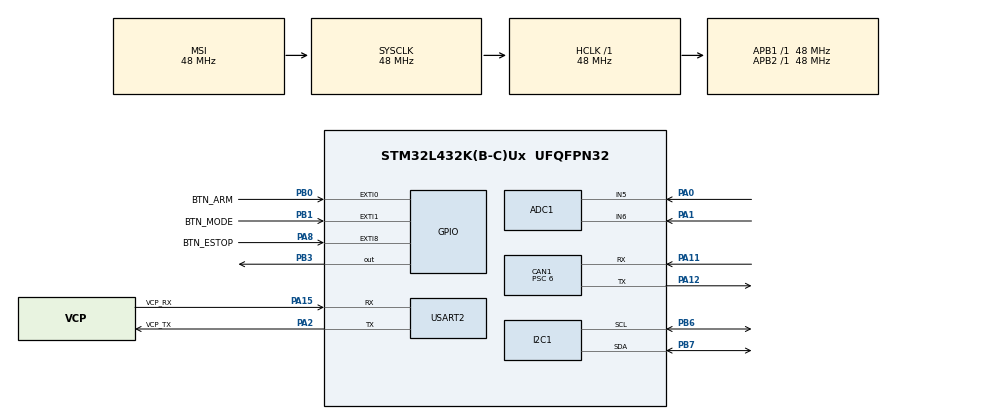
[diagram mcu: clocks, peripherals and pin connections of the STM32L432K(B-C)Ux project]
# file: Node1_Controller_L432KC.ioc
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ADC1.Channel-0\#ChannelRegularConversion=ADC_CHANNEL_5
ADC1.Channel-1\#ChannelRegularConversion=ADC_CHANNEL_6
ADC1.ClockPrescaler=ADC_CLOCK_SYNC_PCLK_DIV4
ADC1.ContinuousConvMode=ENABLE
ADC1.DMAContinuousRequests=ENABLE
ADC1.EOCSelection=ADC_EOC_SEQ_CONV
ADC1.NbrOfConversion=2
ADC1.NbrOfConversionFlag=1
ADC1.OffsetNumber-0\#ChannelRegularConversion=ADC_OFFSET_NONE
ADC1.OffsetNumber-1\#ChannelRegularConversion=ADC_OFFSET_NONE
ADC1.Overrun=ADC_OVR_DATA_OVERWRITTEN
ADC1.Rank-0\#ChannelRegularConversion=1
ADC1.Rank-1\#ChannelRegularConversion=2
ADC1.SamplingTime-0\#ChannelRegularConversion=ADC_SAMPLETIME_247CYCLES_5
ADC1.SamplingTime-1\#ChannelRegularConversion=ADC_SAMPLETIME_247CYCLES_5
ADC1.master=1
CAN1.BS1=CAN_BS1_13TQ
CAN1.BS2=CAN_BS2_2TQ
CAN1.CalculateBaudRate=500000
CAN1.CalculateTimeBit=2000
CAN1.CalculateTimeQuantum=125.0
CAN1.Mode=CAN_MODE_NORMAL
CAN1.NART=ENABLE
CAN1.Prescaler=6
CAN1.SJW=CAN_SJW_2TQ
Dma.ADC1.0.Direction=DMA_PERIPH_TO_MEMORY
Dma.ADC1.0.Instance=DMA1_Channel1
Dma.ADC1.0.MemDataAlignment=DMA_MDATAALIGN_HALFWORD
Dma.ADC1.0.MemInc=DMA_MINC_ENABLE
Dma.ADC1.0.Mode=DMA_CIRCULAR
Dma.ADC1.0.PeriphDataAlignment=DMA_PDATAALIGN_HALFWORD
Dma.ADC1.0.PeriphInc=DMA_PINC_DISABLE
Dma.ADC1.0.Priority=DMA_PRIORITY_LOW
Dma.Request0=ADC1
FREERTOS.Tasks01=ledTask,24,256,StartLedTask,Default,NULL,Dynamic,NULL,NULL;monitorTask,8,512,StartMonitorTask,Default,NULL,Dynamic,NULL,NULL;canTxTask,33,256,StartCanTxTask,Default,NULL,Dynamic,NULL,NULL;canRxTask,32,256,StartCanRxTask,Default,NULL,Dynamic,NULL,NULL
FREERTOS.configCHECK_FOR_STACK_OVERFLOW=2
FREERTOS.configTOTAL_HEAP_SIZE=15360
FREERTOS.configUSE_MALLOC_FAILED_HOOK=1
I2C1.Timing=0x00503D58
Mcu.Family=STM32L4
Mcu.Name=STM32L432K(B-C)Ux
Mcu.Package=UFQFPN32
NUCLEO-L432KC.LD3=true
NVIC.CAN1_RX0_IRQn=true\:5\:0\:false\:false\:true\:true\:true\:true\:true
NVIC.CAN1_SCE_IRQn=true\:5\:0\:false\:false\:true\:true\:true\:true\:true
NVIC.CAN1_TX_IRQn=true\:5\:0\:false\:false\:true\:true\:true\:true\:true
NVIC.DMA1_Channel1_IRQn=true\:5\:0\:false\:false\:true\:false\:true\:true\:true
NVIC.EXTI0_IRQn=true\:5\:0\:true\:false\:true\:true\:true\:true\:true
NVIC.EXTI1_IRQn=true\:5\:0\:true\:false\:true\:true\:true\:true\:true
NVIC.EXTI9_5_IRQn=true\:5\:0\:true\:false\:true\:true\:true\:true\:true
NVIC.PriorityGroup=NVIC_PRIORITYGROUP_4
NVIC.TIM6_DAC_IRQn=true\:15\:0\:false\:false\:true\:false\:true\:true\:false
NVIC.TimeBase=TIM6_DAC_IRQn
NVIC.TimeBaseIP=TIM6
PA0.Signal=ADCx_IN5
PA1.Signal=ADCx_IN6
PA11.GPIO_PuPd=GPIO_PULLUP
PA11.Mode=CAN_Activate
PA11.Signal=CAN1_RX
PA12.Mode=CAN_Activate
PA12.Signal=CAN1_TX
PA13\ (JTMS-SWDIO).GPIO_Label=SWDIO
PA13\ (JTMS-SWDIO).Signal=SYS_JTMS-SWDIO
PA14\ (JTCK-SWCLK).GPIO_Label=SWCLK
PA14\ (JTCK-SWCLK).Signal=SYS_JTCK-SWCLK
PA15\ (JTDI).GPIO_Label=VCP_RX
PA15\ (JTDI).Mode=Asynchronous
PA15\ (JTDI).Signal=USART2_RX
PA2.GPIO_Label=VCP_TX
PA2.Mode=Asynchronous
PA2.Signal=USART2_TX
PA8.GPIO_Label=BTN_ESTOP
PA8.GPIO_ModeDefaultEXTI=GPIO_MODE_IT_FALLING
PA8.GPIO_PuPd=GPIO_PULLUP
PA8.Signal=GPXTI8
PB0.GPIO_Label=BTN_ARM
PB0.GPIO_ModeDefaultEXTI=GPIO_MODE_IT_FALLING
PB0.GPIO_PuPd=GPIO_PULLUP
PB0.Signal=GPXTI0
PB1.GPIO_Label=BTN_MODE
PB1.GPIO_ModeDefaultEXTI=GPIO_MODE_IT_FALLING
PB1.GPIO_PuPd=GPIO_PULLUP
PB1.Signal=GPXTI1
PB3\ (JTDO-TRACESWO).Signal=GPIO_Output
PB6.Mode=I2C
PB6.Signal=I2C1_SCL
PB7.Mode=I2C
PB7.Signal=I2C1_SDA
PC14-OSC32_IN\ (PC14).Signal=RCC_OSC32_IN
PC15-OSC32_OUT\ (PC15).Signal=RCC_OSC32_OUT
ProjectManager.HeapSize=0x200
ProjectManager.StackSize=0x400
ProjectManager.TargetToolchain=STM32CubeIDE
RCC.ADCCLockSelection=RCC_ADCCLKSOURCE_SYSCLK
RCC.ADCFreq_Value=48000000
RCC.AHBFreq_Value=48000000
RCC.APB1Freq_Value=48000000
RCC.APB1TimFreq_Value=48000000
RCC.APB2Freq_Value=48000000
RCC.APB2TimFreq_Value=48000000
RCC.CortexFreq_Value=48000000
RCC.HCLKFreq_Value=48000000
RCC.HSE_VALUE=8000000
RCC.HSI16_VALUE=16000000
RCC.HSI48_VALUE=48000000
RCC.HSI_VALUE=16000000
RCC.I2C1CLockSelection=RCC_I2C1CLKSOURCE_HSI
RCC.LSE_VALUE=32768
RCC.MSIClockRange=RCC_MSIRANGE_11
RCC.MSI_VALUE=48000000
RCC.PLLMUL=RCC_PLLMUL_4
RCC.PLLN=16
RCC.SYSCLKFreq_VALUE=48000000
RCC.USBFreq_Value=192000000
RCC.VCOOutputFreq_Value=768000000
SH.ADCx_IN5.0=ADC1_IN5,IN5-Single-Ended
SH.ADCx_IN6.0=ADC1_IN6,IN6-Single-Ended
USART2.VirtualMode-Asynchronous=VM_ASYNC
VP_FREERTOS_VS_CMSIS_V2.Mode=CMSIS_V2
VP_NUCLEO-L432KC_VS_BSP_COMMON.Mode=COMMON
VP_SYS_VS_tim6.Mode=TIM6
board=NUCLEO-L432KC

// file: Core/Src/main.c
/* USER CODE BEGIN Header */
/**
  ******************************************************************************
  * @file           : main.c
  * @brief          : Main program body
  ******************************************************************************
  * @attention
  *
  * Copyright (c) 2026 STMicroelectronics.
  * All rights reserved.
  *
  * This software is licensed under terms that can be found in the LICENSE file
  * in the root directory of this software component.
  * If no LICENSE file comes with this software, it is provided AS-IS.
  *
  ******************************************************************************
  */
/* USER CODE END Header */
#include "main.h"
#include "cmsis_os.h"

/* USER CODE BEGIN Includes */
#include <stdio.h>
#include "m3_can_test.h"
#include "m3_rtos_test.h"

void M1_LCD_Test_Run(I2C_HandleTypeDef *hi2c, UART_HandleTypeDef *huart);
/* USER CODE END Includes */

/* USER CODE BEGIN PD */
#define M1_TEST_ENABLED 0 /* Archived M1 helpers; not part of M3 CAN test. */
/* USER CODE END PD */

ADC_HandleTypeDef hadc1;
DMA_HandleTypeDef hdma_adc1;

CAN_HandleTypeDef hcan1;

I2C_HandleTypeDef hi2c1;

UART_HandleTypeDef huart2;

/* Definitions for ledTask */
osThreadId_t ledTaskHandle;
const osThreadAttr_t ledTask_attributes = {
  .name = "ledTask",
  .stack_size = 256 * 4,
  .priority = (osPriority_t) osPriorityNormal,
};
/* Definitions for monitorTask */
osThreadId_t monitorTaskHandle;
const osThreadAttr_t monitorTask_attributes = {
  .name = "monitorTask",
  .stack_size = 512 * 4,
  .priority = (osPriority_t) osPriorityLow,
};
/* Definitions for canTxTask */
osThreadId_t canTxTaskHandle;
const osThreadAttr_t canTxTask_attributes = {
  .name = "canTxTask",
  .stack_size = 256 * 4,
  .priority = (osPriority_t) osPriorityAboveNormal1,
};
/* Definitions for canRxTask */
osThreadId_t canRxTaskHandle;
const osThreadAttr_t canRxTask_attributes = {
  .name = "canRxTask",
  .stack_size = 256 * 4,
  .priority = (osPriority_t) osPriorityAboveNormal,
};
/* USER CODE BEGIN PV */
#if M1_TEST_ENABLED
#define ADC_CH_CNT   2
#define MA_LEN       8
#define BTN_DEBOUNCE_MS 25u

typedef enum { BTN_ARM = 0, BTN_MODE, BTN_ESTOP, BTN_COUNT } btn_id_t;

static volatile uint32_t s_btn_last[BTN_COUNT] = {0};
static volatile uint8_t s_btn_event[BTN_COUNT] = {0};
static volatile uint32_t s_irq_raw[BTN_COUNT] = {0}; /* For check: ISR entry count */
static volatile uint8_t s_btn_down[BTN_COUNT] = {0};

static const uint16_t BTN_PIN[BTN_COUNT] = {
		BTN_ARM_Pin, BTN_MODE_Pin, BTN_ESTOP_Pin
};
static GPIO_TypeDef * const BTN_PORT[BTN_COUNT] = {
		BTN_ARM_GPIO_Port, BTN_MODE_GPIO_Port, BTN_ESTOP_GPIO_Port
};

static volatile uint16_t g_adc_raw[ADC_CH_CNT];
#endif
/* USER CODE END PV */

void SystemClock_Config(void);
static void MX_GPIO_Init(void);
static void MX_DMA_Init(void);
static void MX_ADC1_Init(void);
static void MX_USART2_UART_Init(void);
static void MX_I2C1_Init(void);
static void MX_CAN1_Init(void);
void StartLedTask(void *argument);
void StartMonitorTask(void *argument);
void StartCanTxTask(void *argument);
void StartCanRxTask(void *argument);

/* USER CODE BEGIN PFP */
#if M1_TEST_ENABLED
static uint8_t btn_take(btn_id_t id);
static void btn_release_scan(void);
#endif
/* USER CODE END PFP */

int main(void)
{

  /* MCU Configuration--------------------------------------------------------*/

  /* Reset of all peripherals, Initializes the Flash interface and the Systick. */
  HAL_Init();

  /* Configure the system clock */
  SystemClock_Config();

  /* USER CODE BEGIN SysInit */
  if (M3_CAN_Test_PrepareClock() != HAL_OK) {
    M3_RtosFatal(M3_FAULT_HAL);
  }
  /* USER CODE END SysInit */

  /* Initialize all configured peripherals */
  MX_GPIO_Init();
  MX_DMA_Init();
  MX_ADC1_Init();
  MX_USART2_UART_Init();
  MX_I2C1_Init();
  MX_CAN1_Init();
  /* USER CODE BEGIN 2 */
  /* CAN starts in canTxTask after the scheduler is running. */
  /* USER CODE END 2 */

  /* Init scheduler */
  osKernelInitialize();

  /* USER CODE BEGIN RTOS_QUEUES */
  M3_CAN_Test_Init(&hcan1);
  /* USER CODE END RTOS_QUEUES */

  /* Create the thread(s) */
  /* creation of ledTask */
  ledTaskHandle = osThreadNew(StartLedTask, NULL, &ledTask_attributes);

  /* creation of monitorTask */
  monitorTaskHandle = osThreadNew(StartMonitorTask, NULL, &monitorTask_attributes);

  /* creation of canTxTask */
  canTxTaskHandle = osThreadNew(StartCanTxTask, NULL, &canTxTask_attributes);

  /* creation of canRxTask */
  canRxTaskHandle = osThreadNew(StartCanRxTask, NULL, &canRxTask_attributes);

  /* USER CODE BEGIN RTOS_THREADS */
  if ((ledTaskHandle == NULL) || (monitorTaskHandle == NULL) ||
      (canTxTaskHandle == NULL) || (canRxTaskHandle == NULL)) {
    M3_RtosFatal(M3_FAULT_ALLOCATION);
  }
  /* USER CODE END RTOS_THREADS */

  /* Initialize leds */
  BSP_LED_Init(LED_GREEN);

  /* Start scheduler */
  osKernelStart();

  /* We should never get here as control is now taken by the scheduler */

  /* Infinite loop */
  /* USER CODE BEGIN WHILE */
  M3_RtosFatal(M3_FAULT_KERNEL);
  while (1) {
    /* USER CODE END WHILE */

  }
}

void SystemClock_Config(void)
{
  RCC_OscInitTypeDef RCC_OscInitStruct = {0};
  RCC_ClkInitTypeDef RCC_ClkInitStruct = {0};

  /** Configure the main internal regulator output voltage
  */
  if (HAL_PWREx_ControlVoltageScaling(PWR_REGULATOR_VOLTAGE_SCALE1) != HAL_OK)
  {
    Error_Handler();
  }

  /** Initializes the RCC Oscillators according to the specified parameters
  * in the RCC_OscInitTypeDef structure.
  */
  RCC_OscInitStruct.OscillatorType = RCC_OSCILLATORTYPE_HSI|RCC_OSCILLATORTYPE_MSI;
  RCC_OscInitStruct.HSIState = RCC_HSI_ON;
  RCC_OscInitStruct.HSICalibrationValue = RCC_HSICALIBRATION_DEFAULT;
  RCC_OscInitStruct.MSIState = RCC_MSI_ON;
  RCC_OscInitStruct.MSICalibrationValue = 0;
  RCC_OscInitStruct.MSIClockRange = RCC_MSIRANGE_11;
  RCC_OscInitStruct.PLL.PLLState = RCC_PLL_NONE;
  if (HAL_RCC_OscConfig(&RCC_OscInitStruct) != HAL_OK)
  {
    Error_Handler();
  }

  /** Initializes the CPU, AHB and APB buses clocks
  */
  RCC_ClkInitStruct.ClockType = RCC_CLOCKTYPE_HCLK|RCC_CLOCKTYPE_SYSCLK
                              |RCC_CLOCKTYPE_PCLK1|RCC_CLOCKTYPE_PCLK2;
  RCC_ClkInitStruct.SYSCLKSource = RCC_SYSCLKSOURCE_MSI;
  RCC_ClkInitStruct.AHBCLKDivider = RCC_SYSCLK_DIV1;
  RCC_ClkInitStruct.APB1CLKDivider = RCC_HCLK_DIV1;
  RCC_ClkInitStruct.APB2CLKDivider = RCC_HCLK_DIV1;

  if (HAL_RCC_ClockConfig(&RCC_ClkInitStruct, FLASH_LATENCY_2) != HAL_OK)
  {
    Error_Handler();
  }
}

static void MX_ADC1_Init(void)
{

  ADC_ChannelConfTypeDef sConfig = {0};

  /** Common config
  */
  hadc1.Instance = ADC1;
  hadc1.Init.ClockPrescaler = ADC_CLOCK_SYNC_PCLK_DIV4;
  hadc1.Init.Resolution = ADC_RESOLUTION_12B;
  hadc1.Init.DataAlign = ADC_DATAALIGN_RIGHT;
  hadc1.Init.ScanConvMode = ADC_SCAN_ENABLE;
  hadc1.Init.EOCSelection = ADC_EOC_SEQ_CONV;
  hadc1.Init.LowPowerAutoWait = DISABLE;
  hadc1.Init.ContinuousConvMode = ENABLE;
  hadc1.Init.NbrOfConversion = 2;
  hadc1.Init.DiscontinuousConvMode = DISABLE;
  hadc1.Init.ExternalTrigConv = ADC_SOFTWARE_START;
  hadc1.Init.ExternalTrigConvEdge = ADC_EXTERNALTRIGCONVEDGE_NONE;
  hadc1.Init.DMAContinuousRequests = ENABLE;
  hadc1.Init.Overrun = ADC_OVR_DATA_OVERWRITTEN;
  hadc1.Init.OversamplingMode = DISABLE;
  if (HAL_ADC_Init(&hadc1) != HAL_OK)
  {
    Error_Handler();
  }

  /** Configure Regular Channel
  */
  sConfig.Channel = ADC_CHANNEL_5;
  sConfig.Rank = ADC_REGULAR_RANK_1;
  sConfig.SamplingTime = ADC_SAMPLETIME_247CYCLES_5;
  sConfig.SingleDiff = ADC_SINGLE_ENDED;
  sConfig.OffsetNumber = ADC_OFFSET_NONE;
  sConfig.Offset = 0;
  if (HAL_ADC_ConfigChannel(&hadc1, &sConfig) != HAL_OK)
  {
    Error_Handler();
  }

  /** Configure Regular Channel
  */
  sConfig.Channel = ADC_CHANNEL_6;
  sConfig.Rank = ADC_REGULAR_RANK_2;
  if (HAL_ADC_ConfigChannel(&hadc1, &sConfig) != HAL_OK)
  {
    Error_Handler();
  }

}

static void MX_CAN1_Init(void)
{

  hcan1.Instance = CAN1;
  hcan1.Init.Prescaler = 6;
  hcan1.Init.Mode = CAN_MODE_NORMAL;
  hcan1.Init.SyncJumpWidth = CAN_SJW_2TQ;
  hcan1.Init.TimeSeg1 = CAN_BS1_13TQ;
  hcan1.Init.TimeSeg2 = CAN_BS2_2TQ;
  hcan1.Init.TimeTriggeredMode = DISABLE;
  hcan1.Init.AutoBusOff = DISABLE;
  hcan1.Init.AutoWakeUp = DISABLE;
  hcan1.Init.AutoRetransmission = ENABLE;
  hcan1.Init.ReceiveFifoLocked = DISABLE;
  hcan1.Init.TransmitFifoPriority = DISABLE;
  if (HAL_CAN_Init(&hcan1) != HAL_OK)
  {
    Error_Handler();
  }

}

static void MX_I2C1_Init(void)
{

  hi2c1.Instance = I2C1;
  hi2c1.Init.Timing = 0x00503D58;
  hi2c1.Init.OwnAddress1 = 0;
  hi2c1.Init.AddressingMode = I2C_ADDRESSINGMODE_7BIT;
  hi2c1.Init.DualAddressMode = I2C_DUALADDRESS_DISABLE;
  hi2c1.Init.OwnAddress2 = 0;
  hi2c1.Init.OwnAddress2Masks = I2C_OA2_NOMASK;
  hi2c1.Init.GeneralCallMode = I2C_GENERALCALL_DISABLE;
  hi2c1.Init.NoStretchMode = I2C_NOSTRETCH_DISABLE;
  if (HAL_I2C_Init(&hi2c1) != HAL_OK)
  {
    Error_Handler();
  }

  /** Configure Analogue filter
  */
  if (HAL_I2CEx_ConfigAnalogFilter(&hi2c1, I2C_ANALOGFILTER_ENABLE) != HAL_OK)
  {
    Error_Handler();
  }

  /** Configure Digital filter
  */
  if (HAL_I2CEx_ConfigDigitalFilter(&hi2c1, 0) != HAL_OK)
  {
    Error_Handler();
  }

}

static void MX_USART2_UART_Init(void)
{

  huart2.Instance = USART2;
  huart2.Init.BaudRate = 115200;
  huart2.Init.WordLength = UART_WORDLENGTH_8B;
  huart2.Init.StopBits = UART_STOPBITS_1;
  huart2.Init.Parity = UART_PARITY_NONE;
  huart2.Init.Mode = UART_MODE_TX_RX;
  huart2.Init.HwFlowCtl = UART_HWCONTROL_NONE;
  huart2.Init.OverSampling = UART_OVERSAMPLING_16;
  huart2.Init.OneBitSampling = UART_ONE_BIT_SAMPLE_DISABLE;
  huart2.AdvancedInit.AdvFeatureInit = UART_ADVFEATURE_NO_INIT;
  if (HAL_UART_Init(&huart2) != HAL_OK)
  {
    Error_Handler();
  }

}

static void MX_DMA_Init(void)
{

  /* DMA controller clock enable */
  __HAL_RCC_DMA1_CLK_ENABLE();

  /* DMA interrupt init */
  /* DMA1_Channel1_IRQn interrupt configuration */
  HAL_NVIC_SetPriority(DMA1_Channel1_IRQn, 5, 0);
  HAL_NVIC_EnableIRQ(DMA1_Channel1_IRQn);

}

static void MX_GPIO_Init(void)
{
  GPIO_InitTypeDef GPIO_InitStruct = {0};

  /* GPIO Ports Clock Enable */
  __HAL_RCC_GPIOC_CLK_ENABLE();
  __HAL_RCC_GPIOA_CLK_ENABLE();
  __HAL_RCC_GPIOB_CLK_ENABLE();

  /*Configure GPIO pins : BTN_ARM_Pin BTN_MODE_Pin */
  GPIO_InitStruct.Pin = BTN_ARM_Pin|BTN_MODE_Pin;
  GPIO_InitStruct.Mode = GPIO_MODE_IT_FALLING;
  GPIO_InitStruct.Pull = GPIO_PULLUP;
  HAL_GPIO_Init(GPIOB, &GPIO_InitStruct);

  /*Configure GPIO pin : BTN_ESTOP_Pin */
  GPIO_InitStruct.Pin = BTN_ESTOP_Pin;
  GPIO_InitStruct.Mode = GPIO_MODE_IT_FALLING;
  GPIO_InitStruct.Pull = GPIO_PULLUP;
  HAL_GPIO_Init(BTN_ESTOP_GPIO_Port, &GPIO_InitStruct);

  /* EXTI interrupt init*/
  HAL_NVIC_SetPriority(EXTI0_IRQn, 5, 0);
  HAL_NVIC_EnableIRQ(EXTI0_IRQn);

  HAL_NVIC_SetPriority(EXTI1_IRQn, 5, 0);
  HAL_NVIC_EnableIRQ(EXTI1_IRQn);

  HAL_NVIC_SetPriority(EXTI9_5_IRQn, 5, 0);
  HAL_NVIC_EnableIRQ(EXTI9_5_IRQn);

}

/* USER CODE BEGIN 4 */
int __io_putchar(int ch)
{
  HAL_UART_Transmit(&huart2, (uint8_t *)&ch, 1, HAL_MAX_DELAY);
  return ch;
}

#if M1_TEST_ENABLED
void HAL_GPIO_EXTI_Callback(uint16_t GPIO_Pin)
{
  btn_id_t id;

  switch (GPIO_Pin) {
    case BTN_ARM_Pin: id = BTN_ARM; break;
    case BTN_MODE_Pin: id = BTN_MODE; break;
    case BTN_ESTOP_Pin: id = BTN_ESTOP; break;
    default: return;
  }

  s_irq_raw[id]++;

  if (s_btn_down[id]) return;
  /* time filter: unsigned subtraction -> safe from tick overflow */
  uint32_t now = HAL_GetTick();
  if ((uint32_t)(now - s_btn_last[id]) < BTN_DEBOUNCE_MS) return;

  s_btn_last[id] = now;
  s_btn_down[id] = 1;
  s_btn_event[id] = 1;
}

static uint8_t btn_take(btn_id_t id)
{
  uint8_t ev;
  __disable_irq();
  ev = s_btn_event[id];
  s_btn_event[id] = 0;
  __enable_irq();
  return ev;
}

static void btn_release_scan(void)
{
  uint32_t now = HAL_GetTick();

  for (int i = 0; i < BTN_COUNT; i++) {
	  if (!s_btn_down[i]) continue;

	  if (HAL_GPIO_ReadPin(BTN_PORT[i], BTN_PIN[i]) == GPIO_PIN_SET) {
		  if ((uint32_t)(now - s_btn_last[i]) >= BTN_DEBOUNCE_MS) {
			  s_btn_down[i] = 0;
		  }
	  } else {
		  s_btn_last[i] = now;
	  }
  }
}
#endif /* M1_TEST_ENABLED */
/* USER CODE END 4 */

void StartLedTask(void *argument)
{
  /* USER CODE BEGIN 5 */
  M3_LedTask(argument);
  /* USER CODE END 5 */
}

void StartMonitorTask(void *argument)
{
  /* USER CODE BEGIN StartMonitorTask */
  M3_MonitorTask(argument);
  /* USER CODE END StartMonitorTask */
}

void StartCanTxTask(void *argument)
{
  /* USER CODE BEGIN StartCanTxTask */
  M3_CAN_Test_TxTask(argument);
  /* USER CODE END StartCanTxTask */
}

void StartCanRxTask(void *argument)
{
  /* USER CODE BEGIN StartCanRxTask */
  M3_CAN_Test_RxTask(argument);
  /* USER CODE END StartCanRxTask */
}

void HAL_TIM_PeriodElapsedCallback(TIM_HandleTypeDef *htim)
{
  if (htim->Instance == TIM6)
  {
    HAL_IncTick();
  }
}

void Error_Handler(void)
{
  /* USER CODE BEGIN Error_Handler_Debug */
  M3_RtosFatal(M3_FAULT_HAL);
  /* USER CODE END Error_Handler_Debug */
}

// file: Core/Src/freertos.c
/* USER CODE BEGIN Header */
/**
  ******************************************************************************
  * File Name          : freertos.c
  * Description        : Code for freertos applications
  ******************************************************************************
  * @attention
  *
  * Copyright (c) 2026 STMicroelectronics.
  * All rights reserved.
  *
  * This software is licensed under terms that can be found in the LICENSE file
  * in the root directory of this software component.
  * If no LICENSE file comes with this software, it is provided AS-IS.
  *
  ******************************************************************************
  */
/* USER CODE END Header */

#include "FreeRTOS.h"
#include "task.h"
#include "main.h"

/* USER CODE BEGIN Includes */
#include "m3_rtos_test.h"
/* USER CODE END Includes */

/* Hook prototypes */
void vApplicationStackOverflowHook(xTaskHandle xTask, signed char *pcTaskName);
void vApplicationMallocFailedHook(void);

/* USER CODE BEGIN 4 */
void vApplicationStackOverflowHook(xTaskHandle xTask, signed char *pcTaskName)
{
  (void)xTask;
  (void)pcTaskName;
  M3_RtosFatal(M3_FAULT_STACK_OVERFLOW);
}
/* USER CODE END 4 */

/* USER CODE BEGIN 5 */
void vApplicationMallocFailedHook(void)
{
  M3_RtosFatal(M3_FAULT_ALLOCATION);
}
/* USER CODE END 5 */
